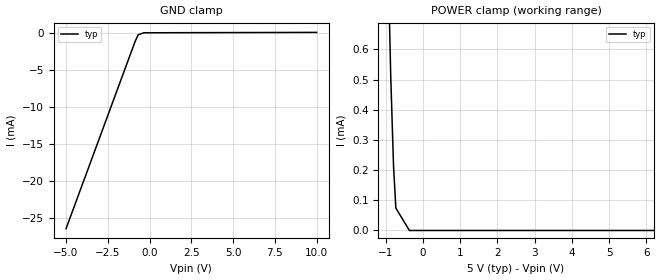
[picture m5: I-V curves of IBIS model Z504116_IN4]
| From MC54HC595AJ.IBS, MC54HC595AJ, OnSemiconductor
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| (C) COPYRIGHT 1993-2000
| MENTOR GRAPHICS CORPORATION
| ICX STANDARD LIBRARY, ICX PROJECT MODELING,
| ICX CUSTOM MODELING, ICX VENDOR MODEL
| ALL RIGHTS RESERVED.
| THE FOLLOWING ARE TRADEMARKS OR SERVICE MARKS OF
| MENTOR GRAPHICS CORPORATION:ICX (R), ICX STANDARD
| LIBRARY(R), ICX PROJECT MODELING(R), ICX CUSTOM
| MODELING(R), qualityIBIS(TM), MODELVIEWER(TM),
| AND MODELEDITOR(TM)
| ALL COPIES OF SOFTWARE, INCLUDING BUT NOT LIMITED TO
| ANY MODIFICATIONS, ENHANCEMENTS OR DERIVATIVE WORKS,
| MUST CONTAIN ALL MENTOR GRAPHICS CORPORATION'S
| NOTICES AND LEGENDS, INCLUDING THOSE EMBEDDED IN
| SOFTWARE AND THOSE AFFIXED TO SOFTWARE MEDIUM
| AND CONTAINER, AS RECEIVED FROM MENTOR GRAPHICS
| CORPORATION.
| Model Application Version 1.89 2/18/99.
[Model] Z504116_IN4
Model_type Input
Vinl = 1.000V
Vinh = 3.500V
C_comp 4.000pF NA NA
| variable typ   min   max
[Voltage Range] 5.000V NA NA
[GND Clamp Reference] 0.000V NA NA
[POWER Clamp Reference] 5.000V NA NA
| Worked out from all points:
|   GND clamp passes 1 mA (typ) near -0.82 V on its own axis
|   POWER clamp passes 1 mA (typ) near -0.96 V on its own axis
[GND Clamp]
-5V       -26.46mA   NA         NA
-873.6mV  -1.259mA   NA         NA
-683.5mV  -301.4uA   NA         NA
-341.7mV  -29.52uA   NA         NA
10V       21.95uA    NA         NA
[POWER Clamp]
-5V       26.84mA    NA         NA
-1.392V   3.569mA    NA         NA
-1.072V   1.627mA    NA         NA
-864mV    509.6uA    NA         NA
-789mV    212.5uA    NA         NA
-727mV    74.3uA     NA         NA
-363.5mV  0A         NA         NA
10V       0A         NA         NA
